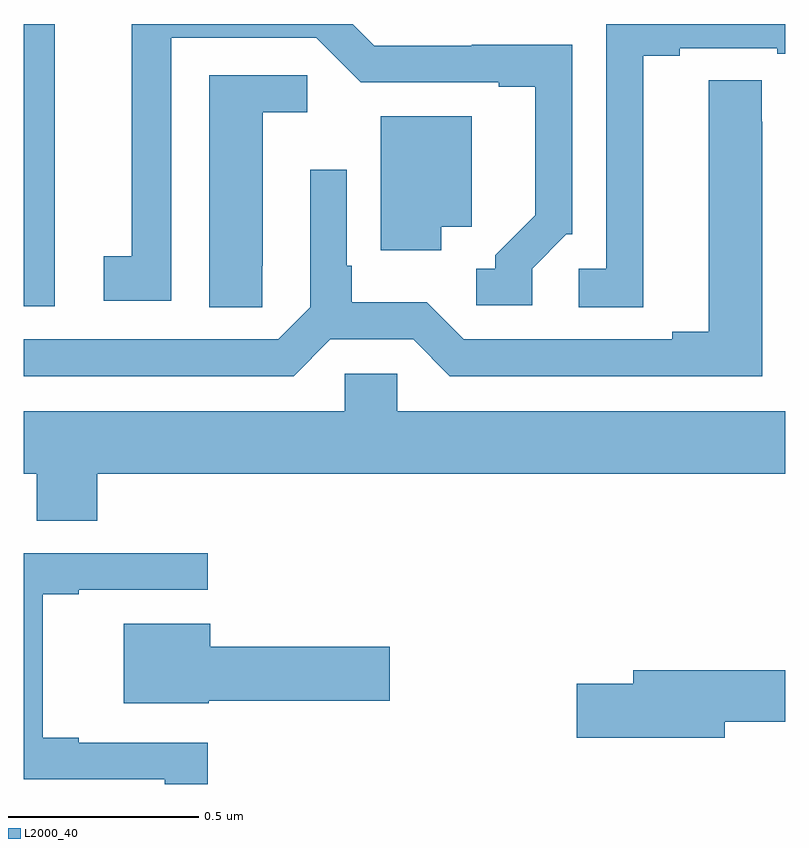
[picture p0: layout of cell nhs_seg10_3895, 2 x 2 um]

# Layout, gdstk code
import gdstk
lib = gdstk.Library(unit=1e-6, precision=1e-09)
def R(c, l, rs):  # rectangles x0, y0, x1, y1
    for r in rs: c.add(gdstk.rectangle(r[:2], r[2:], *l))
def P(c, l, *ps):  # polygons
    for p in ps: c.add(gdstk.Polygon(p, *l))
L2000_40 = (2000, 40)

nhs_seg10_3895 = lib.new_cell('nhs_seg10_3895')
R(nhs_seg10_3895, L2000_40, [(159,1296.759,159.082,1297.5)])
P(nhs_seg10_3895, L2000_40, [(160.335,1296.858),(160.425,1296.948),(160.44,1296.948),(160.44,1297.445),(160.177,1297.445),(160.177,1297.443),(159.921,1297.443),(159.864,1297.5),(159.284,1297.5),(159.284,1296.89),(159.21,1296.89),(159.21,1296.774),(159.388,1296.774),(159.388,1297.464),(159.768,1297.464),(159.885,1297.347),(160.247,1297.347),(160.247,1297.335),(160.343,1297.335),(160.343,1296.998),(160.238,1296.893),(160.238,1296.858),(160.188,1296.858),(160.188,1296.762),(160.335,1296.762)],
  [(160.627,1297.417),(160.723,1297.417),(160.723,1297.437),(160.979,1297.437),(160.979,1297.422),(161,1297.422),(161,1297.5),(160.53,1297.5),(160.53,1296.858),(160.458,1296.858),(160.458,1296.757),(160.627,1296.757)],
  [(159.627,1296.865),(159.628,1296.865),(159.628,1297.268),(159.745,1297.268),(159.745,1297.365),(159.488,1297.365),(159.488,1296.757),(159.627,1296.757)],
  [(159.805,1296.672),(160.023,1296.672),(160.119,1296.576),(160.939,1296.576),(160.939,1297.244),(160.938,1297.244),(160.938,1297.352),(160.799,1297.352),(160.799,1296.692),(160.703,1296.692),(160.703,1296.672),(160.155,1296.672),(160.058,1296.769),(159.862,1296.769),(159.862,1296.865),(159.849,1296.865),(159.849,1297.117),(159.753,1297.117),(159.753,1296.756),(159.669,1296.672),(159,1296.672),(159,1296.576),(159.709,1296.576)],
  [(160.096,1296.968),(160.177,1296.968),(160.177,1297.258),(159.938,1297.258),(159.938,1296.906),(160.096,1296.906)],
  [(159.194,1296.32),(161,1296.32),(161,1296.484),(159.981,1296.484),(159.981,1296.582),(159.843,1296.582),(159.843,1296.484),(159,1296.484),(159,1296.32),(159.034,1296.32),(159.034,1296.196),(159.194,1296.196)],
  [(159.484,1295.613),(159.145,1295.613),(159.145,1295.626),(159.05,1295.626),(159.05,1296.003),(159.145,1296.003),(159.145,1296.015),(159.484,1296.015),(159.484,1296.111),(159,1296.111),(159,1295.517),(159.371,1295.517),(159.371,1295.505),(159.484,1295.505)],
  [(159.486,1295.723),(159.961,1295.723),(159.961,1295.865),(159.49,1295.865),(159.49,1295.926),(159.263,1295.926),(159.263,1295.717),(159.486,1295.717)],
  [(160.84,1295.668),(161,1295.668),(161,1295.804),(160.601,1295.804),(160.601,1295.768),(160.452,1295.768),(160.452,1295.626),(160.84,1295.626)])

lib.write_gds('nhs_seg10_3895.gds')
